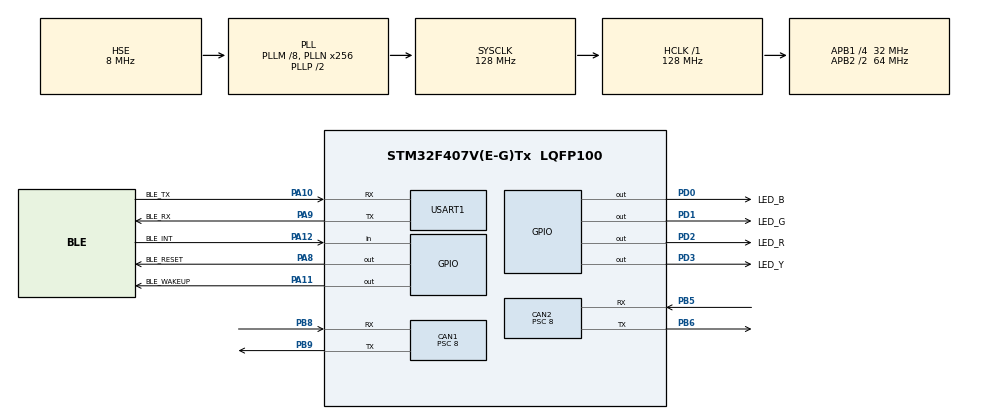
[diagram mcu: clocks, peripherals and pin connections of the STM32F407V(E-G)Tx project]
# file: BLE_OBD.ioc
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CAN1.BS1=CAN_BS1_12TQ
CAN1.BS2=CAN_BS2_3TQ
CAN1.CalculateBaudRate=250000
CAN1.CalculateTimeBit=4000.00
CAN1.CalculateTimeQuantum=250.0
CAN1.Prescaler=8
CAN1.SJW=CAN_SJW_2TQ
CAN2.BS1=CAN_BS1_13TQ
CAN2.BS2=CAN_BS2_2TQ
CAN2.CalculateBaudRate=250000
CAN2.CalculateTimeBit=4000.00
CAN2.CalculateTimeQuantum=250.0
CAN2.Prescaler=8
FREERTOS.Tasks01=defaultTask,0,128,StartDefaultTask,Default,NULL,Dynamic,NULL,NULL;BleTask,0,128,BleMainTask,Default,NULL,Dynamic,NULL,NULL;CANReqTask,-3,128,CANReqMainTask,Default,NULL,Dynamic,NULL,NULL;ledTask,-3,128,LedControlMainTask,Default,NULL,Dynamic,NULL,NULL
Mcu.Family=STM32F4
Mcu.Name=STM32F407V(E-G)Tx
Mcu.Package=LQFP100
NVIC.CAN1_RX0_IRQn=true\:6\:0\:true\:false\:true\:true\:true\:true
NVIC.CAN2_RX0_IRQn=true\:6\:0\:true\:false\:true\:true\:true\:true
NVIC.PriorityGroup=NVIC_PRIORITYGROUP_4
NVIC.TIM1_UP_TIM10_IRQn=true\:15\:0\:false\:false\:true\:false\:false\:true
NVIC.TimeBase=TIM1_UP_TIM10_IRQn
NVIC.TimeBaseIP=TIM1
NVIC.USART1_IRQn=true\:5\:0\:true\:false\:true\:true\:true\:true
PA10.GPIO_Label=BLE_TX
PA10.Mode=Asynchronous
PA10.Signal=USART1_RX
PA11.GPIO_Label=BLE_WAKEUP
PA11.Signal=GPIO_Output
PA12.GPIO_Label=BLE_INT
PA12.Signal=GPIO_Input
PA13.Mode=Serial_Wire
PA13.Signal=SYS_JTMS-SWDIO
PA14.Mode=Serial_Wire
PA14.Signal=SYS_JTCK-SWCLK
PA8.GPIO_Label=BLE_RESET
PA8.Signal=GPIO_Output
PA9.GPIO_Label=BLE_RX
PA9.Mode=Asynchronous
PA9.Signal=USART1_TX
PB5.Mode=CAN_Activate
PB5.Signal=CAN2_RX
PB6.Mode=CAN_Activate
PB6.Signal=CAN2_TX
PB8.Mode=CAN_Activate
PB8.Signal=CAN1_RX
PB9.Mode=CAN_Activate
PB9.Signal=CAN1_TX
PD0.GPIO_Label=LED_B
PD0.Signal=GPIO_Output
PD1.GPIO_Label=LED_G
PD1.Signal=GPIO_Output
PD2.GPIO_Label=LED_R
PD2.Signal=GPIO_Output
PD3.GPIO_Label=LED_Y
PD3.Signal=GPIO_Output
PH0-OSC_IN.Mode=HSE-External-Oscillator
PH0-OSC_IN.Signal=RCC_OSC_IN
PH1-OSC_OUT.Mode=HSE-External-Oscillator
PH1-OSC_OUT.Signal=RCC_OSC_OUT
ProjectManager.HeapSize=0x200
ProjectManager.StackSize=0x400
ProjectManager.TargetToolchain=MDK-ARM V5.32
RCC.48MHZClocksFreq_Value=64000000
RCC.AHBFreq_Value=128000000
RCC.APB1CLKDivider=RCC_HCLK_DIV4
RCC.APB1Freq_Value=32000000
RCC.APB1TimFreq_Value=64000000
RCC.APB2CLKDivider=RCC_HCLK_DIV2
RCC.APB2Freq_Value=64000000
RCC.APB2TimFreq_Value=128000000
RCC.CortexFreq_Value=128000000
RCC.HCLKFreq_Value=128000000
RCC.HSE_VALUE=8000000
RCC.HSI_VALUE=16000000
RCC.LSE_VALUE=32768
RCC.PLLM=8
RCC.PLLN=256
RCC.PLLSourceVirtual=RCC_PLLSOURCE_HSE
RCC.SYSCLKFreq_VALUE=128000000
RCC.SYSCLKSource=RCC_SYSCLKSOURCE_PLLCLK
RCC.VCOOutputFreq_Value=256000000
USART1.VirtualMode=VM_ASYNC
VP_FREERTOS_VS_CMSIS_V1.Mode=CMSIS_V1
VP_SYS_VS_tim1.Mode=TIM1
board=custom

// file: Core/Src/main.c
/* USER CODE BEGIN Header */
/**
  ******************************************************************************
  * @file           : main.c
  * @brief          : Main program body
  ******************************************************************************
  * @attention
  *
  * <h2><center>&copy; Copyright (c) 2021 STMicroelectronics.
  * All rights reserved.</center></h2>
  *
  * This software component is licensed by ST under BSD 3-Clause license,
  * the "License"; You may not use this file except in compliance with the
  * License. You may obtain a copy of the License at:
  *                        opensource.org/licenses/BSD-3-Clause
  *
  ******************************************************************************
  */
/* USER CODE END Header */
#include "main.h"
#include "cmsis_os.h"
#include "can.h"
#include "usart.h"
#include "gpio.h"

/* USER CODE BEGIN Includes */
#include "isotp.h"
#include "bsp_usartx_CC2541.h"
#include "string.h"
#include "appOBD.h"
/* USER CODE END Includes */

/* USER CODE BEGIN PTD */
uint8_t preDtcCnt;
/* USER CODE END PTD */

void SystemClock_Config(void);
void MX_FREERTOS_Init(void);

int main(void)
{

  /* MCU Configuration--------------------------------------------------------*/

  /* Reset of all peripherals, Initializes the Flash interface and the Systick. */
  HAL_Init();

  /* Configure the system clock */
  SystemClock_Config();

  /* Initialize all configured peripherals */
  MX_GPIO_Init();
  MX_CAN1_Init();
  MX_CAN2_Init();
  MX_USART1_UART_Init();
  /* USER CODE BEGIN 2 */

  copyDtcFromFlash();
  countDTC();
  preDtcCnt = DTCnumber;

  MX_CAN1_Init();
  MX_CAN2_Init();
  CANMultiInit();
  /* USER CODE END 2 */

  /* Call init function for freertos objects (in freertos.c) */
  MX_FREERTOS_Init();
  /* Start scheduler */
  osKernelStart();

  /* We should never get here as control is now taken by the scheduler */
  /* Infinite loop */
  while (1)
  {

  }
}

void SystemClock_Config(void)
{
  RCC_OscInitTypeDef RCC_OscInitStruct = {0};
  RCC_ClkInitTypeDef RCC_ClkInitStruct = {0};

  /** Configure the main internal regulator output voltage
  */
  __HAL_RCC_PWR_CLK_ENABLE();
  __HAL_PWR_VOLTAGESCALING_CONFIG(PWR_REGULATOR_VOLTAGE_SCALE1);
  /** Initializes the RCC Oscillators according to the specified parameters
  * in the RCC_OscInitTypeDef structure.
  */
  RCC_OscInitStruct.OscillatorType = RCC_OSCILLATORTYPE_HSE;
  RCC_OscInitStruct.HSEState = RCC_HSE_ON;
  RCC_OscInitStruct.PLL.PLLState = RCC_PLL_ON;
  RCC_OscInitStruct.PLL.PLLSource = RCC_PLLSOURCE_HSE;
  RCC_OscInitStruct.PLL.PLLM = 8;
  RCC_OscInitStruct.PLL.PLLN = 256;
  RCC_OscInitStruct.PLL.PLLP = RCC_PLLP_DIV2;
  RCC_OscInitStruct.PLL.PLLQ = 4;
  if (HAL_RCC_OscConfig(&RCC_OscInitStruct) != HAL_OK)
  {
    Error_Handler();
  }
  /** Initializes the CPU, AHB and APB buses clocks
  */
  RCC_ClkInitStruct.ClockType = RCC_CLOCKTYPE_HCLK|RCC_CLOCKTYPE_SYSCLK
                              |RCC_CLOCKTYPE_PCLK1|RCC_CLOCKTYPE_PCLK2;
  RCC_ClkInitStruct.SYSCLKSource = RCC_SYSCLKSOURCE_PLLCLK;
  RCC_ClkInitStruct.AHBCLKDivider = RCC_SYSCLK_DIV1;
  RCC_ClkInitStruct.APB1CLKDivider = RCC_HCLK_DIV4;
  RCC_ClkInitStruct.APB2CLKDivider = RCC_HCLK_DIV2;

  if (HAL_RCC_ClockConfig(&RCC_ClkInitStruct, FLASH_LATENCY_4) != HAL_OK)
  {
    Error_Handler();
  }
}

void HAL_TIM_PeriodElapsedCallback(TIM_HandleTypeDef *htim)
{
  if (htim->Instance == TIM1) {
    HAL_IncTick();
  }
}

void Error_Handler(void)
{
  __disable_irq();
  while (1)
  {
  }
}

/************************ (C) COPYRIGHT STMicroelectronics *****END OF FILE****/

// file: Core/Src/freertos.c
/* USER CODE BEGIN Header */
/**
  ******************************************************************************
  * File Name          : freertos.c
  * Description        : Code for freertos applications
  ******************************************************************************
  * @attention
  *
  * <h2><center>&copy; Copyright (c) 2022 STMicroelectronics.
  * All rights reserved.</center></h2>
  *
  * This software component is licensed by ST under Ultimate Liberty license
  * SLA0044, the "License"; You may not use this file except in compliance with
  * the License. You may obtain a copy of the License at:
  *                             www.st.com/SLA0044
  *
  ******************************************************************************
  */
/* USER CODE END Header */

#include "FreeRTOS.h"
#include "task.h"
#include "main.h"
#include "cmsis_os.h"

/* USER CODE BEGIN Includes */
#include "isotp_user.h"
#include "ble_app.h"
#include "gpio.h"
#include "can.h"
#include "appOBD.h"
#include "can.h"
extern uint8_t CANDataAvalFlag;
/* USER CODE END Includes */

osThreadId defaultTaskHandle;
osThreadId BleTaskHandle;
osThreadId CANReqTaskHandle;
osThreadId ledTaskHandle;

void StartDefaultTask(void const * argument);
void BleMainTask(void const * argument);
void CANReqMainTask(void const * argument);
void LedControlMainTask(void const * argument);

void MX_FREERTOS_Init(void); /* (MISRA C 2004 rule 8.1) */

/* GetIdleTaskMemory prototype (linked to static allocation support) */
void vApplicationGetIdleTaskMemory( StaticTask_t **ppxIdleTaskTCBBuffer, StackType_t **ppxIdleTaskStackBuffer, uint32_t *pulIdleTaskStackSize );

/* USER CODE BEGIN GET_IDLE_TASK_MEMORY */
static StaticTask_t xIdleTaskTCBBuffer;
static StackType_t xIdleStack[configMINIMAL_STACK_SIZE];

void vApplicationGetIdleTaskMemory( StaticTask_t **ppxIdleTaskTCBBuffer, StackType_t **ppxIdleTaskStackBuffer, uint32_t *pulIdleTaskStackSize )
{
    *ppxIdleTaskTCBBuffer = &xIdleTaskTCBBuffer;
    *ppxIdleTaskStackBuffer = &xIdleStack[0];
    *pulIdleTaskStackSize = configMINIMAL_STACK_SIZE;
    /* place for user code */
}
/* USER CODE END GET_IDLE_TASK_MEMORY */

void MX_FREERTOS_Init(void) {

    /* Create the thread(s) */
    /* definition and creation of defaultTask */
    osThreadDef(defaultTask, StartDefaultTask, osPriorityNormal, 0, 128);
    defaultTaskHandle = osThreadCreate(osThread(defaultTask), NULL);

    /* definition and creation of BleTask */
    osThreadDef(BleTask, BleMainTask, osPriorityNormal, 0, 128);
    BleTaskHandle = osThreadCreate(osThread(BleTask), NULL);

    /* definition and creation of CANReqTask */
    osThreadDef(CANReqTask, CANReqMainTask, osPriorityIdle, 0, 128);
    CANReqTaskHandle = osThreadCreate(osThread(CANReqTask), NULL);

    /* definition and creation of ledTask */
    osThreadDef(ledTask, LedControlMainTask, osPriorityIdle, 0, 128);
    ledTaskHandle = osThreadCreate(osThread(ledTask), NULL);

}

void StartDefaultTask(void const * argument)
{
    /* USER CODE BEGIN StartDefaultTask */
    /* Infinite loop */
    TpInit();
    for(;;)
    {
        TpTask();
        DescTask();
        osDelay(1);
    }
    /* USER CODE END StartDefaultTask */
}

void BleMainTask(void const * argument)
{
    /* USER CODE BEGIN BleMainTask */
    enableBLE();
    /* Infinite loop */
    for(;;)
    {
        checkBLEConnectStatus();
        if(CANDataAvalFlag>0) CANDataAvalFlag--;
        sendAllBLEMsg();
        osDelay(1000);
    }
    /* USER CODE END BleMainTask */
}

void CANReqMainTask(void const * argument)
{
    /* USER CODE BEGIN CANReqMainTask */
    initCANSndMsg();
    /* Infinite loop */
    for(;;)
    {
        osDelay(1);
    }
    /* USER CODE END CANReqMainTask */
}

void LedControlMainTask(void const * argument)
{
    /* USER CODE BEGIN LedControlMainTask */
    /* Infinite loop */
    uint8_t index=0;
    for(;;)
    {
        osDelay(1000);
        monitorDTC();
        toggleLeds();
        if(index%20==0)
        {
            reqBMSData(0x16,16);
        }
        else if(index%20==2)
        {
            reqBMSData(0x8,32);
        }
        else if(index%20==4)
        {
            reqBMSData(0x9,4);
        }
        else if(index%20==5)
        {
            reqBMSData(0xa,4);
        }
        else if(index%20==6)
        {
            reqBMSData(0xd,4);
        }
        else if(index%20==10)
        {
            reqBMSData(0xe,4);
        }
        else if(index%20==12)
        {
            reqBMSData(0x24,32);
        }
        else if(index%20==14)
        {
            reqBMSData(0x25,32);
        }
        else if(index%20==16)
        {
            reqBMSData(0x26,14);
        }
        index++;

    }
    /* USER CODE END LedControlMainTask */
}

/************************ (C) COPYRIGHT STMicroelectronics *****END OF FILE****/
